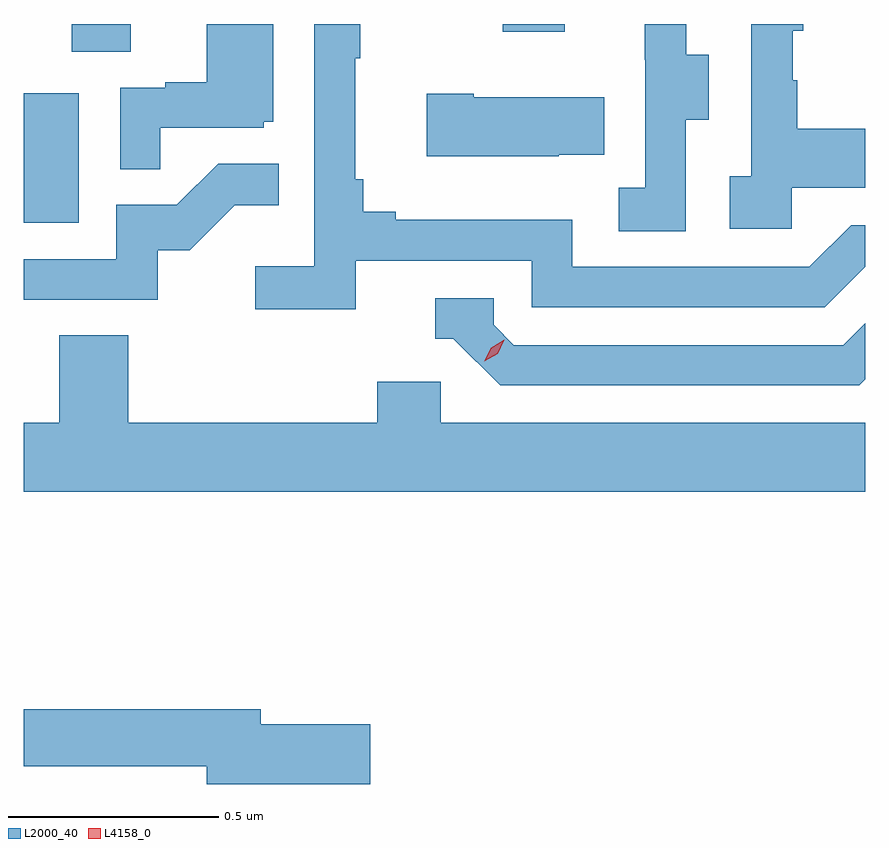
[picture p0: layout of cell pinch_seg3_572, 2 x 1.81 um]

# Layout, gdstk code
import gdstk
lib = gdstk.Library(unit=1e-6, precision=1e-09)
def R(c, l, rs):  # rectangles x0, y0, x1, y1
    for r in rs: c.add(gdstk.rectangle(r[:2], r[2:], *l))
def P(c, l, *ps):  # polygons
    for p in ps: c.add(gdstk.Polygon(p, *l))
L2000_40 = (2000, 40)
L4158_0 = (4158, 0)

pinch_seg3_572 = lib.new_cell('pinch_seg3_572')
R(pinch_seg3_572, L2000_40, [(1117.955,688.236,1118.086,688.543), (1118.069,688.642,1118.209,688.708), (1119.094,688.689,1119.241,688.708)])
P(pinch_seg3_572, L2000_40, [(1118.279,688.461),(1118.526,688.461),(1118.526,688.476),(1118.548,688.476),(1118.548,688.708),(1118.39,688.708),(1118.39,688.57),(1118.291,688.57),(1118.291,688.557),(1118.184,688.557),(1118.184,688.363),(1118.279,688.363)],
  [(1119.78,688.319),(1119.955,688.319),(1119.955,688.459),(1119.793,688.459),(1119.793,688.574),(1119.783,688.574),(1119.783,688.692),(1119.808,688.692),(1119.808,688.708),(1119.684,688.708),(1119.684,688.346),(1119.633,688.346),(1119.633,688.221),(1119.78,688.221)],
  [(1119.528,688.48),(1119.583,688.48),(1119.583,688.635),(1119.529,688.635),(1119.529,688.708),(1119.431,688.708),(1119.431,688.623),(1119.432,688.623),(1119.432,688.319),(1119.369,688.319),(1119.369,688.216),(1119.528,688.216)],
  [(1118.744,688.146),(1119.162,688.146),(1119.162,688.035),(1119.859,688.035),(1119.955,688.131),(1119.955,688.23),(1119.921,688.23),(1119.822,688.131),(1119.258,688.131),(1119.258,688.243),(1118.839,688.243),(1118.839,688.262),(1118.762,688.262),(1118.762,688.339),(1118.743,688.339),(1118.743,688.627),(1118.755,688.627),(1118.755,688.708),(1118.646,688.708),(1118.646,688.132),(1118.505,688.132),(1118.505,688.03),(1118.744,688.03)],
  [(1119.227,688.397),(1119.335,688.397),(1119.335,688.534),(1119.025,688.534),(1119.025,688.542),(1118.913,688.542),(1118.913,688.394),(1119.227,688.394)],
  [(1118.274,688.17),(1118.35,688.17),(1118.457,688.277),(1118.561,688.277),(1118.561,688.376),(1118.417,688.376),(1118.319,688.278),(1118.175,688.278),(1118.175,688.149),(1117.955,688.149),(1117.955,688.053),(1118.274,688.053)],
  [(1119.955,687.864),(1119.955,687.997),(1119.903,687.945),(1119.12,687.945),(1119.072,687.993),(1119.072,688.056),(1118.933,688.056),(1118.933,687.96),(1118.976,687.96),(1119.087,687.849),(1119.94,687.849)],
  [(1119.955,687.76),(1118.946,687.76),(1118.946,687.858),(1118.795,687.858),(1118.795,687.76),(1118.204,687.76),(1118.204,687.968),(1118.039,687.968),(1118.039,687.76),(1117.955,687.76),(1117.955,687.596),(1119.955,687.596)],
  [(1118.779,687.044),(1118.518,687.044),(1118.518,687.08),(1117.955,687.08),(1117.955,686.944),(1118.39,686.944),(1118.39,686.902),(1118.779,686.902)])
P(pinch_seg3_572, L4158_0, [(1119.05,687.906),(1119.05,687.906),(1119.066,687.939),(1119.097,687.958),(1119.097,687.958),(1119.097,687.958),(1119.081,687.925),(1119.05,687.906)])

lib.write_gds('pinch_seg3_572.gds')
